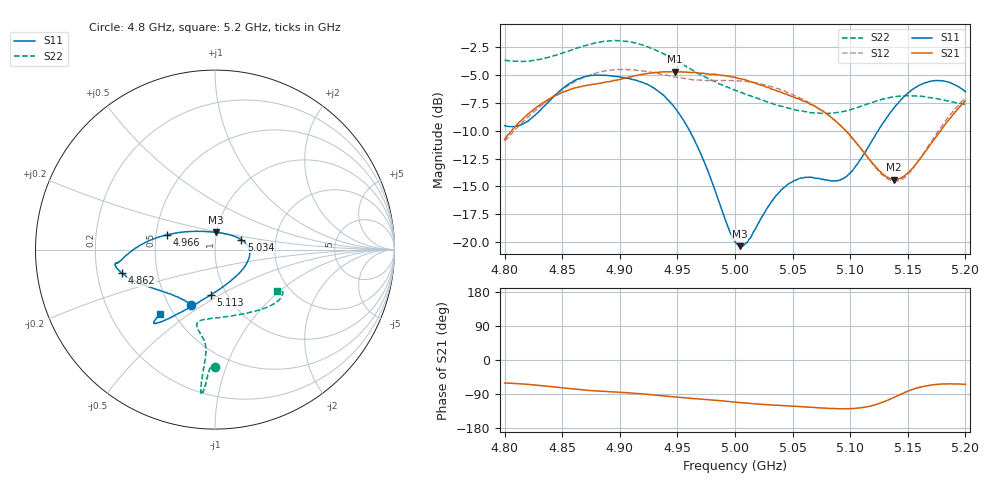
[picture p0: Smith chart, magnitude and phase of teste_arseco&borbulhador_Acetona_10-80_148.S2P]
! Network Analyzer HP8722D
! Hewlett-Packard
! Data name: Linha & Wilkinson
! Saver's name: Rodrigo Anjos
! Comments: Teste da utilização de aquisição
! continua pelo VNA HP8722D
! Time and date: 17/4/2025 15:35
!  Frequency  S11  S21  S12  S22
# HZ  S  MA R 50
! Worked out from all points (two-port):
!   401 points, 4.8 GHz to 5.2 GHz, reference 50 ohm
!   highest |S21| = -4.68 dB at 4.948 GHz (marker M1); lowest = -14.4 dB at 5.138 GHz (marker M2)
!   |S21| within 3 dB of the highest: 4.83 GHz to 5.067 GHz (236.9 MHz wide, 4.79 % of centre); 5.196493 GHz to end of sweep
!   lowest |S11| = -20.4 dB at 5.004 GHz (marker M3), VSWR 1.21, Z = 49.6 + j9.59 ohm
!   |S11| at or under -10 dB: 4.961 GHz to 5.124 GHz (163.4 MHz wide, 3.24 % of centre)
!   |S22| runs from -8.5 to -1.9 dB; largest |S21 - S12| = 0.87
!   S11 on the Smith chart (normalised r, x): 4.8 GHz: 0.65, -0.45; 4.862 GHz: 0.31, -0.11; 4.966 GHz: 0.57, +0.10; 5.034 GHz: 1.34, +0.15; 5.113 GHz: 0.84, -0.45; 5.2 GHz: 0.42, -0.39
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4.8e9  0.3337 -113.4  0.2894 -60.8  0.2832 -175.0  0.6552 -90.0
4.819e9  0.3471 -133.4  0.3711 -64.0  0.3592 -173.6  0.6511 -91.6
4.862e9  0.5356 -165.8  0.4944 -77.1  0.5285 -176.9  0.7423 -93.9
4.867e9  0.5485 -167.8  0.5011 -78.6  0.5437 -177.9  0.7569 -94.0
4.9e9  0.552 -172.3  0.5379 -85.3  0.5964 175.6  0.802 -95.4
4.934e9  0.4737 -178.3  0.5787 -93.5  0.5709 171.9  0.7161 -95.8
4.948e9  0.3999 175.1  0.5833 -97.5  0.5526 172.0  0.6565 -95.3
4.966e9  0.279 162.8  0.5771 -101.9  0.5353 173.7  0.5812 -95.1
5e9  0.101 101.3  0.55 -111.1  0.5325 176.1  0.4815 -99.1
5.004e9  0.09594 87.1  0.5429 -112.1  0.5291 176.2  0.4727 -100.0
5.012e9  0.1028 60.6  0.5288 -114.2  0.5251 176.0  0.4556 -101.8
5.034e9  0.1576 20.7  0.4824 -119.0  0.4963 174.8  0.4162 -103.4
5.049e9  0.1857 5.1  0.4513 -121.6  0.4628 174.3  0.3973 -99.9
5.067e9  0.1951 -14.1  0.414 -124.8  0.4152 173.6  0.3814 -90.7
5.093e9  0.1922 -58.2  0.3286 -128.8  0.3275 174.0  0.3849 -70.6
5.113e9  0.2538 -95.5  0.2486 -124.5  0.2483 -179.8  0.4142 -54.9
5.134e9  0.3764 -116.4  0.1936 -104.2  0.1904 -157.1  0.4458 -42.9
5.138e9  0.4011 -118.8  0.1909 -98.6  0.1878 -150.8  0.449 -41.1
5.15e9  0.4662 -124.2  0.2042 -82.6  0.2013 -132.2  0.4551 -36.7
5.17e9  0.5286 -128.9  0.2758 -66.3  0.2809 -112.4  0.4456 -32.0
5.184e9  0.5254 -130.2  0.3466 -63.1  0.3584 -107.2  0.4316 -31.0
5.2e9  0.4737 -130.5  0.4307 -64.4  0.4431 -106.5  0.4153 -33.3
